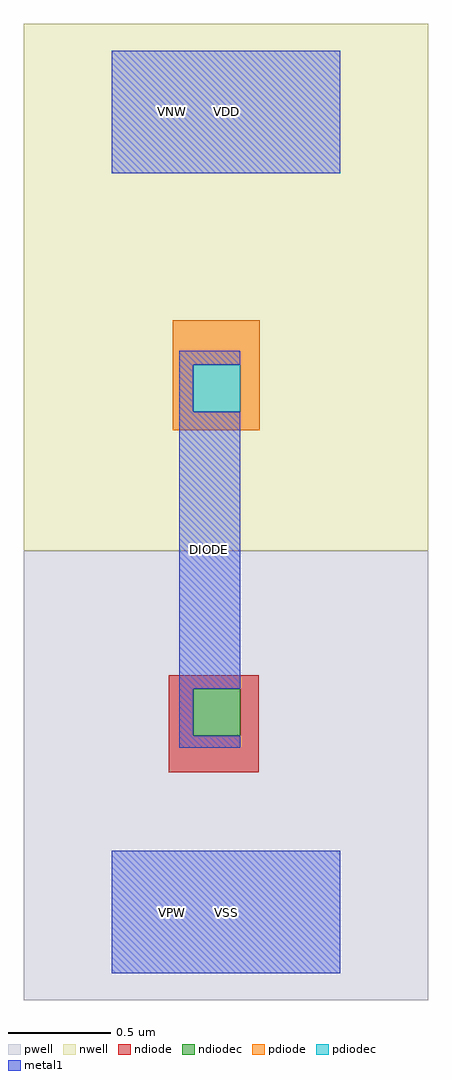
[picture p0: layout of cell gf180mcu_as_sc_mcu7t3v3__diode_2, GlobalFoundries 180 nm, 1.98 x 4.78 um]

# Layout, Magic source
magic
tech gf180mcuD
magscale 1 10
<< nwell >>
rect -86 354 310 870
<< pwell >>
rect -86 -86 310 354
<< pdiode >>
rect 60 536 145 580
rect 60 490 80 536
rect 126 490 145 536
rect 60 472 145 490
<< ndiode >>
rect 56 219 144 232
rect 56 173 80 219
rect 126 173 144 219
rect 56 137 144 173
<< pdiodec >>
rect 80 490 126 536
<< ndiodec >>
rect 80 173 126 219
<< metal1 >>
rect 0 724 224 844
rect 66 536 126 550
rect 66 490 80 536
rect 66 219 126 490
rect 66 173 80 219
rect 66 161 126 173
rect 0 -60 224 60
<< labels >>
flabel metal1 s 0 724 224 844 0 FreeSans 400 0 0 0 VDD
port 1 nsew power bidirectional abutment
flabel metal1 s 0 -60 224 60 0 FreeSans 400 0 0 0 VSS
port 4 nsew ground bidirectional abutment
flabel nwell s 10 734 110 834 0 FreeSans 400 0 0 0 VNW
port 2 nsew power bidirectional
flabel pwell s 10 -50 110 50 0 FreeSans 400 0 0 0 VPW
port 3 nsew ground bidirectional
flabel metal1 66 161 126 550 0 FreeSans 200 0 0 0 DIODE
port 5 nsew signal input
<< properties >>
string FIXED_BBOX 0 0 224 784
string LEFclass CORE ANTENNACELL
string LEFsite unithd
string LEFsymmetry X Y
string MASKHINTS_NPLUS -16 -46 240 354
string MASKHINTS_PPLUS -16 354 240 830
<< end >>
